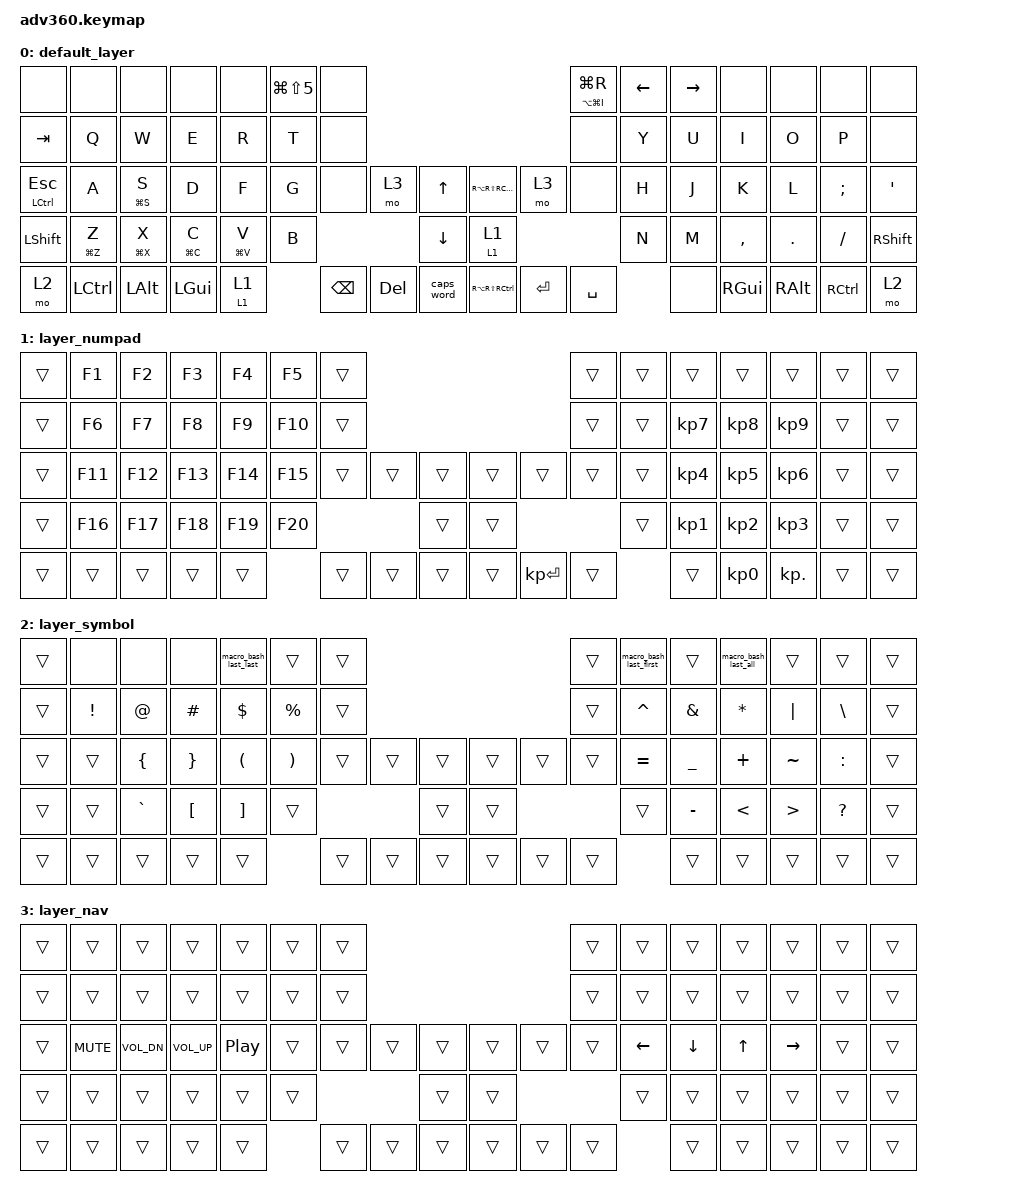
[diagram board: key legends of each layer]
/*
 * Copyright (c) 2020 The ZMK Contributors
 *
 * SPDX-License-Identifier: MIT
 */
/* THIS FILE WAS GENERATED!
 *
 * This file was generated automatically. You may or may not want to
 * edit it directly.
 */

#include <behaviors.dtsi>
#include <dt-bindings/zmk/keys.h>

&mt { tapping-term-ms = <450>; };

/ {
    behaviors {
        #include "macros.dtsi"
      #include "version.dtsi"

        hm: homerow_mods {
            compatible = "zmk,behavior-hold-tap";
            label = "HOMEROW_MODS";
            #binding-cells = <2>;
            tapping-term-ms = <425>;
            flavor = "tap-preferred";
            bindings = <&kp>, <&kp>;
        };

        mo_tog: behavior_mo_tog {
            compatible = "zmk,behavior-hold-tap";
            label = "mo_tog";
            #binding-cells = <2>;
            flavor = "hold-preferred";
            tapping-term-ms = <200>;
            bindings = <&mo>, <&tog>;
        };
    };

    macros {
    };

    keymap {
        compatible = "zmk,keymap";

        default_layer {
            bindings = <
&none          &none        &none        &none        &none        &kp LG(LS(N5))  &none                                                               &mt LA(LG(I)) LG(R)  &kp LEFT  &kp RIGHT  &none      &none     &none      &none
&kp TAB        &kp Q        &kp W        &kp E        &kp R        &kp T           &none                                                               &none                &kp Y     &kp U      &kp I      &kp O     &kp P      &none
&mt LCTRL ESC  &kp A        &hm LG(S) S  &kp D        &kp F        &kp G           &none     &mo 3    &kp UP          &kp RA(RS(RC(RGUI)))  &mo 3      &none                &kp H     &kp J      &kp K      &kp L     &kp SEMI   &kp SQT
&kp LSHFT      &hm LG(Z) Z  &hm LG(X) X  &hm LG(C) C  &hm LG(V) V  &kp B                              &kp DOWN        &mo_tog 1 1                                           &kp N     &kp M      &kp COMMA  &kp DOT   &kp FSLH   &kp RSHFT
&mo 2          &kp LCTRL    &kp LALT     &kp LGUI     &mo_tog 1 1                  &kp BSPC  &kp DEL  &caps_word      &kp RA(RS(RCTRL))     &kp ENTER  &kp SPACE                      &none      &kp RGUI   &kp RALT  &kp RCTRL  &mo 2
            >;
        };

        layer_numpad {
            bindings = <
&trans  &kp F1   &kp F2   &kp F3   &kp F4   &kp F5   &trans                                            &trans  &trans  &trans     &trans     &trans      &trans  &trans
&trans  &kp F6   &kp F7   &kp F8   &kp F9   &kp F10  &trans                                            &trans  &trans  &kp KP_N7  &kp KP_N8  &kp KP_N9   &trans  &trans
&trans  &kp F11  &kp F12  &kp F13  &kp F14  &kp F15  &trans  &trans  &trans      &trans  &trans        &trans  &trans  &kp KP_N4  &kp KP_N5  &kp KP_N6   &trans  &trans
&trans  &kp F16  &kp F17  &kp F18  &kp F19  &kp F20                  &trans      &trans                        &trans  &kp KP_N1  &kp KP_N2  &kp KP_N3   &trans  &trans
&trans  &trans   &trans   &trans   &trans            &trans  &trans  &trans      &trans  &kp KP_ENTER  &trans          &trans     &kp KP_N0  &kp KP_DOT  &trans  &trans
            >;
        };

        layer_symbol {
            bindings = <
&trans  &none            &none      &none      &macro_bash_last_last  &trans       &trans                                      &trans  &macro_bash_last_first  &trans          &macro_bash_last_all  &trans            &trans         &trans
&trans  &kp EXCLAMATION  &kp AT     &kp POUND  &kp DOLLAR             &kp PERCENT  &trans                                      &trans  &kp CARET               &kp AMPERSAND   &kp ASTERISK          &kp PIPE          &kp BACKSLASH  &trans
&trans  &trans           &kp LBRC   &kp RBRC   &kp LPAR               &kp RPAR     &trans  &trans  &trans      &trans  &trans  &trans  &kp EQUAL               &kp UNDERSCORE  &kp PLUS              &kp TILDE         &kp COLON      &trans
&trans  &trans           &kp GRAVE  &kp LBKT   &kp RBKT               &trans                       &trans      &trans                  &trans                  &kp MINUS       &kp LESS_THAN         &kp GREATER_THAN  &kp QUESTION   &trans
&trans  &trans           &trans     &trans     &trans                              &trans  &trans  &trans      &trans  &trans  &trans                          &trans          &trans                &trans            &trans         &trans
            >;
        };

        layer_nav {
            bindings = <
&trans  &trans      &trans        &trans        &trans            &trans  &trans                                      &trans  &trans    &trans    &trans  &trans     &trans  &trans
&trans  &trans      &trans        &trans        &trans            &trans  &trans                                      &trans  &trans    &trans    &trans  &trans     &trans  &trans
&trans  &kp K_MUTE  &kp C_VOL_DN  &kp C_VOL_UP  &kp C_PLAY_PAUSE  &trans  &trans  &trans  &trans      &trans  &trans  &trans  &kp LEFT  &kp DOWN  &kp UP  &kp RIGHT  &trans  &trans
&trans  &trans      &trans        &trans        &trans            &trans                  &trans      &trans                  &trans    &trans    &trans  &trans     &trans  &trans
&trans  &trans      &trans        &trans        &trans                    &trans  &trans  &trans      &trans  &trans  &trans            &trans    &trans  &trans     &trans  &trans
            >;
        };
    };
};
